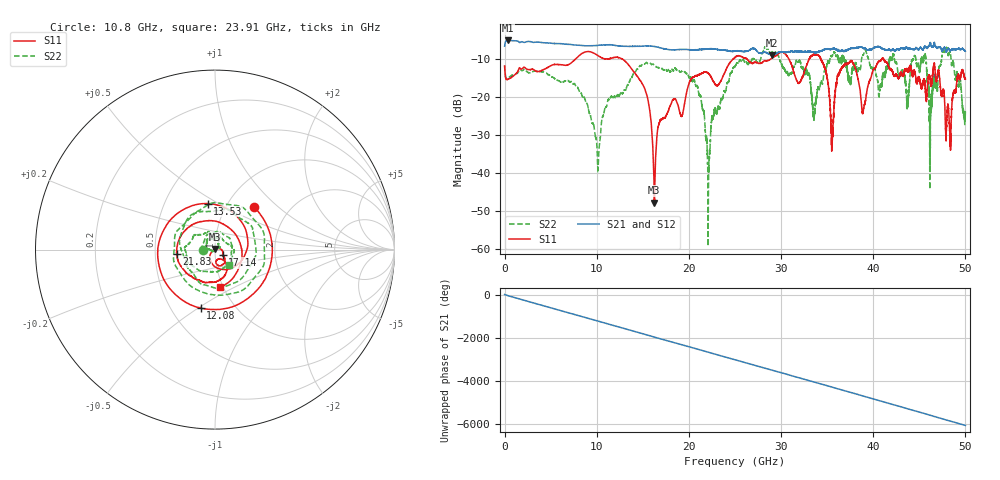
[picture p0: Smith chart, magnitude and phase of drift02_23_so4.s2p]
!Created with skrf (http://scikit-rf.org).
# Hz S RI R 50.0
!freq ReS11 ImS11 ReS21 ImS21 ReS12 ImS12 ReS22 ImS22
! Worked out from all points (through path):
!   10001 points, 300 kHz to 50 GHz, reference 50 ohm
!   highest |S21| = -5.04 dB at 325.3 MHz (marker M1); lowest = -8.9 dB at 28.98 GHz (marker M2)
!   group delay of S21, straight-line fit = 336 ps
!   lowest |S11| = -47.8 dB at 16.25 GHz (marker M3), VSWR 1.01, Z = 49.8 + j0.344 ohm
!   |S11| at or under -10 dB: start of sweep to 7.668 GHz; 12.81 GHz to 24.77 GHz (11.96 GHz wide, 63.6 % of centre); 41.13 GHz to end of sweep (the widest 3 of 10)
!   |S22| runs from -59.3 to -6.7 dB; largest |S21 - S12| = 0.03
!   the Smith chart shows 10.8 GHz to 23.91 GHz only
!   S11 on the Smith chart (normalised r, x): 10.8 GHz: 1.35, +0.71; 12.08 GHz: 0.70, -0.51; 13.53 GHz: 0.81, +0.45; 17.14 GHz: 1.09, -0.06; 21.83 GHz: 0.65, -0.03; 23.91 GHz: 0.97, -0.43
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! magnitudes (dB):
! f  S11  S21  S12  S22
! 300 kHz  -11.8  -6.5  -6.5  -11.7
! 325.3 MHz  -15.3  -5.0  -5.0  -15.1
! 8.335 GHz  -8.6  -6.4  -6.4  -19.1
! 10.11 GHz  -9.0  -6.4  -6.3  -38.4
! 10.8 GHz  -9.9  -6.2  -6.2  -23.8
! 12.08 GHz  -9.5  -6.4  -6.4  -20.3
! 13.53 GHz  -11.7  -6.6  -6.6  -16.1
! 16.25 GHz  -47.8  -6.6  -6.6  -11.6
! 16.67 GHz  -27.6  -6.8  -6.8  -12.2
! 17.14 GHz  -25.7  -7.1  -7.1  -12.5
! 21.83 GHz  -13.4  -7.3  -7.3  -30.1
! 23.91 GHz  -13.4  -7.6  -7.6  -18.7
! 25 GHz  -9.5  -7.8  -7.9  -11.9
! 28.98 GHz  -9.8  -8.9  -8.9  -8.1
! 33.34 GHz  -9.2  -8.0  -8.0  -20.4
! 35.54 GHz  -32.4  -7.3  -7.3  -9.3
! 36.8 GHz  -11.8  -7.8  -7.7  -10.2
! 41.67 GHz  -12.0  -7.4  -7.5  -11.8
! 45.5 GHz  -15.5  -7.0  -7.0  -9.6
! 46.24 GHz  -16.7  -5.9  -6.0  -23.3
! 48.13 GHz  -22.4  -7.1  -7.2  -8.7
! 50 GHz  -15.3  -7.9  -7.9  -23.9
